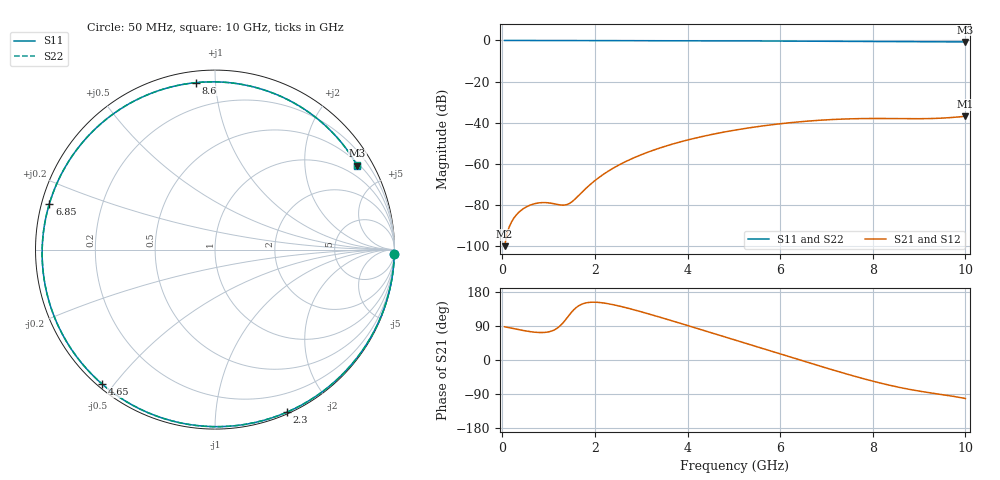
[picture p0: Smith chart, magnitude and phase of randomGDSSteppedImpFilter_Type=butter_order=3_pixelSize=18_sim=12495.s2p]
! freq	dB(S11)	phase(S11)	dB(S12)	phase(S12)
!  dB(S21)	phase(S21)	dB(S22)	phase(S22)
!S-par simulation data
#  GHz  S  DB  R 50
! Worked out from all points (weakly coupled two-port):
!   200 points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, 50 MHz to 10 GHz, reference 50 ohm
!   highest |S21| = -36.84 dB at 10 GHz (marker M1); lowest = -99.9 dB at 50 MHz (marker M2)
!   lowest |S11| = -0.7 dB at 10 GHz (marker M3), VSWR 24.11, Z = 29.2 + j178 ohm
!   |S11| at or under -10 dB: nowhere
!   |S22| runs from -0.7 to 0.0 dB; largest |S21 - S12| = 0
!   S11 on the Smith chart (normalised r, x): 50 MHz: 1, -76; 2.3 GHz: 0.02, -1.54; 4.65 GHz: 0.01, -0.47; 6.85 GHz: 0.02, +0.14; 8.6 GHz: 0.06, +0.89; 10 GHz: 0.58, +3.57
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0.05  -0.00 -1.5  -99.92 87.7  -99.92 87.7  -0.00 -1.5
0.6  -0.02 -17.6  -80.00 74.9  -80.00 74.9  -0.02 -17.6
0.9  -0.03 -26.4  -78.75 72.7  -78.75 72.7  -0.03 -26.4
1.35  -0.05 -39.4  -79.95 103.7  -79.95 103.7  -0.05 -39.3
1.5  -0.06 -43.6  -78.41 126.9  -78.41 126.9  -0.06 -43.6
1.75  -0.06 -50.7  -73.06 148.8  -73.06 148.8  -0.06 -50.7
2.3  -0.08 -66.1  -63.32 148.2  -63.32 148.2  -0.08 -66.1
2.8  -0.10 -79.9  -57.40 133.9  -57.40 133.9  -0.10 -79.9
3.4  -0.13 -96.2  -52.24 113.1  -52.24 113.1  -0.13 -96.2
4  -0.16 -112.4  -48.35 91.1  -48.35 91.1  -0.16 -112.4
4.65  -0.19 -130.1  -45.09 66.8  -45.09 66.8  -0.19 -130.0
5.05  -0.22 -141.1  -43.45 51.8  -43.45 51.8  -0.22 -141.1
5.9  -0.28 -165.5  -40.72 19.8  -40.72 19.8  -0.28 -165.5
6.7  -0.36 169.5  -38.99 -10.2  -38.99 -10.2  -0.36 169.6
6.85  -0.38 164.5  -38.76 -15.8  -38.76 -15.8  -0.38 164.6
7.6  -0.46 137.7  -38.02 -42.6  -38.02 -42.6  -0.46 137.8
8.35  -0.54 107.4  -37.92 -66.3  -37.92 -66.3  -0.54 107.5
8.6  -0.57 96.5  -37.97 -72.9  -37.97 -72.9  -0.57 96.6
8.95  -0.61 80.6  -38.01 -81.0  -38.01 -81.0  -0.61 80.7
9.25  -0.64 66.6  -37.93 -86.9  -37.93 -86.9  -0.64 66.6
9.6  -0.67 49.8  -37.59 -93.2  -37.59 -93.2  -0.67 49.9
10  -0.72 30.6  -36.84 -101.6  -36.84 -101.6  -0.72 30.6
